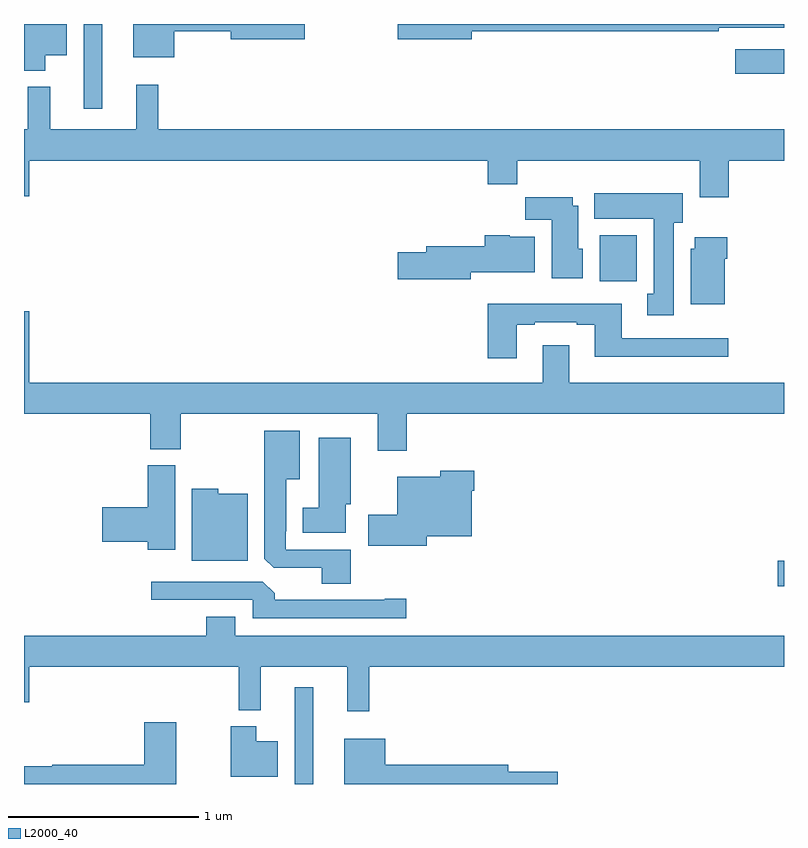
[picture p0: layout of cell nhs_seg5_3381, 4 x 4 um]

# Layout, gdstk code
import gdstk
lib = gdstk.Library(unit=1e-6, precision=1e-09)
def R(c, l, rs):  # rectangles x0, y0, x1, y1
    for r in rs: c.add(gdstk.rectangle(r[:2], r[2:], *l))
def P(c, l, *ps):  # polygons
    for p in ps: c.add(gdstk.Polygon(p, *l))
L2000_40 = (2000, 40)

nhs_seg5_3381 = lib.new_cell('nhs_seg5_3381')
R(nhs_seg5_3381, L2000_40, [(310.425,866.799,310.522,867.307), (312.966,867.839,313,867.974), (312.029,869.444,312.226,869.686), (309.315,870.354,309.412,870.799), (312.744,870.538,313,870.667)])
P(nhs_seg5_3381, L2000_40, [(309.79,870.76),(310.088,870.76),(310.088,870.718),(310.477,870.718),(310.477,870.799),(309.575,870.799),(309.575,870.623),(309.79,870.623)],
  [(311.356,870.76),(312.656,870.76),(312.656,870.78),(313,870.78),(313,870.799),(310.968,870.799),(310.968,870.718),(311.356,870.718)],
  [(309.112,870.635),(309.226,870.635),(309.226,870.799),(309,870.799),(309,870.554),(309.112,870.554)],
  [(312.71,870.08),(313,870.08),(313,870.244),(309.707,870.244),(309.707,870.478),(309.59,870.478),(309.59,870.244),(309.137,870.244),(309.137,870.469),(309.019,870.469),(309.019,870.244),(309,870.244),(309,869.892),(309.028,869.892),(309.028,870.08),(311.441,870.08),(311.441,869.956),(311.597,869.956),(311.597,870.08),(312.557,870.08),(312.557,869.886),(312.71,869.886)],
  [(312.421,869.754),(312.466,869.754),(312.466,869.908),(312.002,869.908),(312.002,869.774),(312.314,869.774),(312.314,869.378),(312.281,869.378),(312.281,869.265),(312.421,869.265)],
  [(311.941,869.616),(311.917,869.616),(311.917,869.842),(311.887,869.842),(311.887,869.887),(311.638,869.887),(311.638,869.768),(311.777,869.768),(311.777,869.462),(311.941,869.462)],
  [(311.352,869.492),(311.689,869.492),(311.689,869.68),(311.556,869.68),(311.556,869.686),(311.426,869.686),(311.426,869.628),(311.117,869.628),(311.117,869.598),(310.968,869.598),(310.968,869.456),(311.352,869.456)],
  [(312.688,869.564),(312.701,869.564),(312.701,869.677),(312.53,869.677),(312.53,869.616),(312.509,869.616),(312.509,869.324),(312.688,869.324)],
  [(311.593,869.217),(311.689,869.217),(311.689,869.229),(311.909,869.229),(311.909,869.217),(312.005,869.217),(312.005,869.048),(312.706,869.048),(312.706,869.145),(312.145,869.145),(312.145,869.326),(311.441,869.326),(311.441,869.04),(311.593,869.04)],
  [(311.015,868.748),(313,868.748),(313,868.912),(311.869,868.912),(311.869,869.107),(311.729,869.107),(311.729,868.912),(309.028,868.912),(309.028,869.287),(309,869.287),(309,868.748),(309.665,868.748),(309.665,868.561),(309.825,868.561),(309.825,868.748),(310.862,868.748),(310.862,868.554),(311.015,868.554)],
  [(310.721,868.032),(310.377,868.032),(310.377,868.129),(310.381,868.129),(310.381,868.403),(310.45,868.403),(310.45,868.657),(310.265,868.657),(310.265,867.985),(310.314,867.936),(310.568,867.936),(310.568,867.853),(310.721,867.853)],
  [(310.693,868.272),(310.72,868.272),(310.72,868.621),(310.55,868.621),(310.55,868.252),(310.466,868.252),(310.466,868.121),(310.693,868.121)],
  [(309.796,868.476),(309.65,868.476),(309.65,868.256),(309.411,868.256),(309.411,868.073),(309.65,868.073),(309.65,868.032),(309.796,868.032)],
  [(311.119,868.103),(311.356,868.103),(311.356,868.343),(311.369,868.343),(311.369,868.447),(311.191,868.447),(311.191,868.417),(310.964,868.417),(310.964,868.215),(310.812,868.215),(310.812,868.052),(311.119,868.052)],
  [(310.177,868.327),(310.023,868.327),(310.023,868.354),(309.884,868.354),(309.884,867.974),(310.177,867.974)],
  [(311.011,867.773),(310.898,867.773),(310.898,867.768),(310.319,867.768),(310.319,867.802),(310.257,867.864),(309.669,867.864),(309.669,867.768),(310.203,867.768),(310.203,867.672),(311.011,867.672)],
  [(310.817,867.416),(313,867.416),(313,867.58),(310.111,867.58),(310.111,867.679),(309.959,867.679),(309.959,867.58),(309,867.58),(309,867.228),(309.028,867.228),(309.028,867.416),(310.129,867.416),(310.129,867.188),(310.247,867.188),(310.247,867.416),(310.7,867.416),(310.7,867.183),(310.817,867.183)],
  [(309.802,867.124),(309.632,867.124),(309.632,866.9),(309.148,866.9),(309.148,866.893),(309,866.893),(309,866.799),(309.802,866.799)],
  [(310.336,867.025),(310.222,867.025),(310.222,867.103),(310.088,867.103),(310.088,866.837),(310.336,866.837)],
  [(311.809,866.864),(311.548,866.864),(311.548,866.9),(310.9,866.9),(310.9,867.037),(310.685,867.037),(310.685,866.799),(311.809,866.799)])

lib.write_gds('nhs_seg5_3381.gds')
